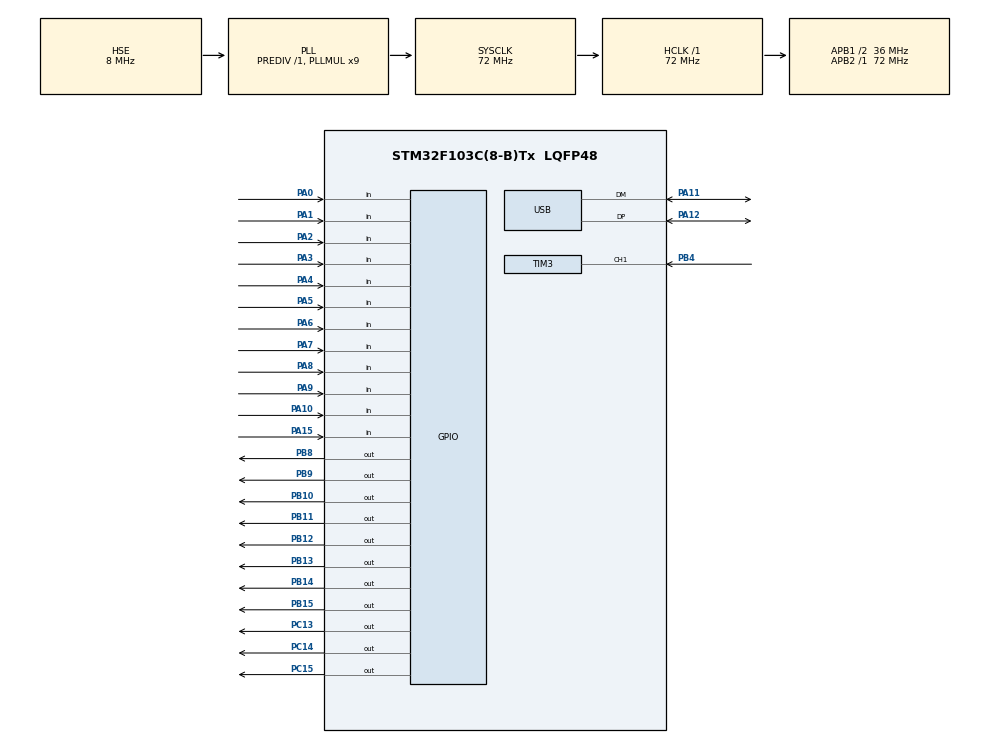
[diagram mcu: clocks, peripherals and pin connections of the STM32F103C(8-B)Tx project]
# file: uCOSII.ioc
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Mcu.Family=STM32F1
USB_DEVICE.CLASS_NAME_FS=CDC
PA11.Mode=Device
PB11.Signal=GPIO_Output
PB13.Signal=GPIO_Output
PB15.Signal=GPIO_Output
RCC.SYSCLKSource=RCC_SYSCLKSOURCE_PLLCLK
ProjectManager.StackSize=0x400
PD1-OSC_OUT.Signal=RCC_OSC_OUT
PA12.Signal=USB_DP
RCC.HCLKFreq_Value=72000000
RCC.APB2TimFreq_Value=72000000
RCC.AHBFreq_Value=72000000
TIM3.Channel-Input_Capture1_from_TI1=TIM_CHANNEL_1
RCC.PLLMUL=RCC_PLL_MUL9
PC13-TAMPER-RTC.PinState=GPIO_PIN_SET
PA14.Mode=Serial_Wire
PA8.Signal=GPIO_Input
SH.S_TIM3_CH1.0=TIM3_CH1,Input_Capture1_from_TI1
TIM4.Period=10
Mcu.Package=LQFP48
PB9.Signal=GPIO_Output
PA6.Signal=GPIO_Input
PA10.Signal=GPIO_Input
PA15.Signal=GPIO_Input
RCC.APB1TimFreq_Value=72000000
PB4.Signal=S_TIM3_CH1
PA3.Signal=GPIO_Input
RCC.PLLSourceVirtual=RCC_PLLSOURCE_HSE
PD1-OSC_OUT.Mode=HSE-External-Oscillator
USB_DEVICE.VirtualModeFS=Cdc_FS
PC13-TAMPER-RTC.Signal=GPIO_Output
RCC.USBPrescaler=RCC_USBCLKSOURCE_PLL_DIV1_5
PD0-OSC_IN.Signal=RCC_OSC_IN
RCC.APB1CLKDivider=RCC_HCLK_DIV2
PC14-OSC32_IN.Signal=GPIO_Output
PA0-WKUP.Signal=GPIO_Input
PA13.Signal=SYS_JTMS-SWDIO
ProjectManager.TargetToolchain=STM32CubeIDE
VP_USB_DEVICE_VS_USB_DEVICE_CDC_FS.Mode=CDC_FS
PA9.Signal=GPIO_Input
RCC.USBFreq_Value=48000000
TIM4.Prescaler=562
PC15-OSC32_OUT.Signal=GPIO_Output
PA1.Signal=GPIO_Input
PD0-OSC_IN.Mode=HSE-External-Oscillator
PB10.Signal=GPIO_Output
PB14.Signal=GPIO_Output
PA5.Signal=GPIO_Input
board=custom
NVIC.TIM3_IRQn=true\:0\:0\:false\:false\:true\:true\:true
RCC.APB2Freq_Value=72000000
NVIC.USB_LP_CAN1_RX0_IRQn=true\:0\:0\:false\:false\:true\:false\:true
PA13.Mode=Serial_Wire
Mcu.Name=STM32F103C(8-B)Tx
PA2.Signal=GPIO_Input
PA4.Signal=GPIO_Input
RCC.SYSCLKFreq_VALUE=72000000
PA12.Mode=Device
PA11.Signal=USB_DM
PA14.Signal=SYS_JTCK-SWCLK
ProjectManager.HeapSize=0x200
VP_TIM4_VS_ClockSourceINT.Mode=Internal
NVIC.PriorityGroup=NVIC_PRIORITYGROUP_4
PB8.Signal=GPIO_Output
NVIC.TIM4_IRQn=true\:0\:0\:false\:false\:true\:true\:true
RCC.APB1Freq_Value=36000000
USB_DEVICE.VirtualMode=Cdc
PB12.Signal=GPIO_Output
PA7.Signal=GPIO_Input

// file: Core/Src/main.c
/* USER CODE BEGIN Header */
/**
  ******************************************************************************
  * @file           : main.c
  * @brief          : Main program body
  ******************************************************************************
  * @attention
  *
  * <h2><center>&copy; Copyright (c) 2019 STMicroelectronics.
  * All rights reserved.</center></h2>
  *
  * This software component is licensed by ST under BSD 3-Clause license,
  * the "License"; You may not use this file except in compliance with the
  * License. You may obtain a copy of the License at:
  *                        opensource.org/licenses/BSD-3-Clause
  *
  ******************************************************************************
  */
/* USER CODE END Header */
#include "main.h"
#include "usb_device.h"

/* USER CODE BEGIN Includes */
#include <app_cfg.h>
#include <cpu_core.h>
#include <os.h>
#include "stdio.h"
#include <math.h>
#include "lib_str.h"
#include "stdarg.h"
#include "usbd_cdc_if.h"
#include "app.h"
#include "DIO.h"
/* USER CODE END Includes */

/* USER CODE BEGIN PD */
#warning "Modify this value to match the number of external interrupts in your MCU"
#define EXT_INT_MAX_NBR 16u
/* USER CODE END PD */

TIM_HandleTypeDef htim3;
TIM_HandleTypeDef htim4;

/* USER CODE BEGIN PV */

OS_STK StartupTaskStk[APP_CFG_STARTUP_TASK_STK_SIZE];

void UsbPrintf (CPU_CHAR  *p_fmt, ...);

u_int16_t output_mode ;
u_int16_t seq_number ;
u_int16_t frequencymeter_en ;
u_int16_t sin_gen_freq ;
u_int32_t measured_freq;

/* USER CODE END PV */

void SystemClock_Config(void);
static void MX_GPIO_Init(void);
static void MX_TIM3_Init(void);
static void MX_TIM4_Init(void);

int main(void)
{
  /* USER CODE BEGIN 1 */
#if (OS_TASK_NAME_EN > 0u)
CPU_INT08U os_err;
#endif
CPU_INT16U int_id;
  /* USER CODE END 1 */

  /* MCU Configuration--------------------------------------------------------*/

  /* Reset of all peripherals, Initializes the Flash interface and the Systick. */
  HAL_Init();

  /* USER CODE BEGIN Init */
  CPU_IntDis();
  for (int_id = CPU_INT_EXT0; int_id <= (EXT_INT_MAX_NBR - 1u); int_id++)
  {
  /* Set all external intr. to KA interrupt priority boundary */
  CPU_IntSrcPrioSet(int_id, CPU_CFG_KA_IPL_BOUNDARY, CPU_INT_KA);
  }
  /* USER CODE END Init */

  /* Configure the system clock */
  SystemClock_Config();

  /* Initialize all configured peripherals */
  MX_GPIO_Init();
  MX_USB_DEVICE_Init();
  MX_TIM3_Init();
  MX_TIM4_Init();
  /* USER CODE BEGIN 2 */

  OSInit();
  OSTaskCreateExt( StartupTask,
                   0,
				   &StartupTaskStk[APP_CFG_STARTUP_TASK_STK_SIZE - 1],
				   APP_CFG_STARTUP_TASK_PRIO,
				   APP_CFG_STARTUP_TASK_PRIO,
				   &StartupTaskStk[0],
				   APP_CFG_STARTUP_TASK_STK_SIZE,
				   0,
				   (OS_TASK_OPT_STK_CHK | OS_TASK_OPT_STK_CLR));
  #if (OS_TASK_NAME_EN > 0u)
   OSTaskNameSet( APP_CFG_STARTUP_TASK_PRIO,
    	  	      (INT8U *)"Startup task",
				  &os_err);
  #endif

  OSStart();

  /* USER CODE END 2 */

  /* Infinite loop */
  while (1)
  {

  }
}

void SystemClock_Config(void)
{
  RCC_OscInitTypeDef RCC_OscInitStruct = {0};
  RCC_ClkInitTypeDef RCC_ClkInitStruct = {0};
  RCC_PeriphCLKInitTypeDef PeriphClkInit = {0};

  /** Initializes the RCC Oscillators according to the specified parameters
  * in the RCC_OscInitTypeDef structure.
  */
  RCC_OscInitStruct.OscillatorType = RCC_OSCILLATORTYPE_HSE;
  RCC_OscInitStruct.HSEState = RCC_HSE_ON;
  RCC_OscInitStruct.HSEPredivValue = RCC_HSE_PREDIV_DIV1;
  RCC_OscInitStruct.HSIState = RCC_HSI_ON;
  RCC_OscInitStruct.PLL.PLLState = RCC_PLL_ON;
  RCC_OscInitStruct.PLL.PLLSource = RCC_PLLSOURCE_HSE;
  RCC_OscInitStruct.PLL.PLLMUL = RCC_PLL_MUL9;
  if (HAL_RCC_OscConfig(&RCC_OscInitStruct) != HAL_OK)
  {
    Error_Handler();
  }
  /** Initializes the CPU, AHB and APB buses clocks
  */
  RCC_ClkInitStruct.ClockType = RCC_CLOCKTYPE_HCLK|RCC_CLOCKTYPE_SYSCLK
                              |RCC_CLOCKTYPE_PCLK1|RCC_CLOCKTYPE_PCLK2;
  RCC_ClkInitStruct.SYSCLKSource = RCC_SYSCLKSOURCE_PLLCLK;
  RCC_ClkInitStruct.AHBCLKDivider = RCC_SYSCLK_DIV1;
  RCC_ClkInitStruct.APB1CLKDivider = RCC_HCLK_DIV2;
  RCC_ClkInitStruct.APB2CLKDivider = RCC_HCLK_DIV1;

  if (HAL_RCC_ClockConfig(&RCC_ClkInitStruct, FLASH_LATENCY_2) != HAL_OK)
  {
    Error_Handler();
  }
  PeriphClkInit.PeriphClockSelection = RCC_PERIPHCLK_USB;
  PeriphClkInit.UsbClockSelection = RCC_USBCLKSOURCE_PLL_DIV1_5;
  if (HAL_RCCEx_PeriphCLKConfig(&PeriphClkInit) != HAL_OK)
  {
    Error_Handler();
  }
}

static void MX_TIM3_Init(void)
{

  TIM_MasterConfigTypeDef sMasterConfig = {0};
  TIM_IC_InitTypeDef sConfigIC = {0};

  htim3.Instance = TIM3;
  htim3.Init.Prescaler = 0;
  htim3.Init.CounterMode = TIM_COUNTERMODE_UP;
  htim3.Init.Period = 65535;
  htim3.Init.ClockDivision = TIM_CLOCKDIVISION_DIV1;
  htim3.Init.AutoReloadPreload = TIM_AUTORELOAD_PRELOAD_DISABLE;
  if (HAL_TIM_IC_Init(&htim3) != HAL_OK)
  {
    Error_Handler();
  }
  sMasterConfig.MasterOutputTrigger = TIM_TRGO_RESET;
  sMasterConfig.MasterSlaveMode = TIM_MASTERSLAVEMODE_DISABLE;
  if (HAL_TIMEx_MasterConfigSynchronization(&htim3, &sMasterConfig) != HAL_OK)
  {
    Error_Handler();
  }
  sConfigIC.ICPolarity = TIM_INPUTCHANNELPOLARITY_RISING;
  sConfigIC.ICSelection = TIM_ICSELECTION_DIRECTTI;
  sConfigIC.ICPrescaler = TIM_ICPSC_DIV1;
  sConfigIC.ICFilter = 0;
  if (HAL_TIM_IC_ConfigChannel(&htim3, &sConfigIC, TIM_CHANNEL_1) != HAL_OK)
  {
    Error_Handler();
  }

}

static void MX_TIM4_Init(void)
{

  TIM_ClockConfigTypeDef sClockSourceConfig = {0};
  TIM_MasterConfigTypeDef sMasterConfig = {0};

  htim4.Instance = TIM4;
  htim4.Init.Prescaler = 562;
  htim4.Init.CounterMode = TIM_COUNTERMODE_UP;
  htim4.Init.Period = 10;
  htim4.Init.ClockDivision = TIM_CLOCKDIVISION_DIV1;
  htim4.Init.AutoReloadPreload = TIM_AUTORELOAD_PRELOAD_DISABLE;
  if (HAL_TIM_Base_Init(&htim4) != HAL_OK)
  {
    Error_Handler();
  }
  sClockSourceConfig.ClockSource = TIM_CLOCKSOURCE_INTERNAL;
  if (HAL_TIM_ConfigClockSource(&htim4, &sClockSourceConfig) != HAL_OK)
  {
    Error_Handler();
  }
  sMasterConfig.MasterOutputTrigger = TIM_TRGO_RESET;
  sMasterConfig.MasterSlaveMode = TIM_MASTERSLAVEMODE_DISABLE;
  if (HAL_TIMEx_MasterConfigSynchronization(&htim4, &sMasterConfig) != HAL_OK)
  {
    Error_Handler();
  }

}

static void MX_GPIO_Init(void)
{
  GPIO_InitTypeDef GPIO_InitStruct = {0};

  /* GPIO Ports Clock Enable */
  __HAL_RCC_GPIOC_CLK_ENABLE();
  __HAL_RCC_GPIOD_CLK_ENABLE();
  __HAL_RCC_GPIOA_CLK_ENABLE();
  __HAL_RCC_GPIOB_CLK_ENABLE();

  /*Configure GPIO pin Output Level */
  HAL_GPIO_WritePin(GPIOC, GPIO_PIN_13, GPIO_PIN_SET);

  /*Configure GPIO pin Output Level */
  HAL_GPIO_WritePin(GPIOC, GPIO_PIN_14|GPIO_PIN_15, GPIO_PIN_RESET);

  /*Configure GPIO pin Output Level */
  HAL_GPIO_WritePin(GPIOB, GPIO_PIN_10|GPIO_PIN_11|GPIO_PIN_12|GPIO_PIN_13
                          |GPIO_PIN_14|GPIO_PIN_15|GPIO_PIN_8|GPIO_PIN_9, GPIO_PIN_RESET);

  /*Configure GPIO pins : PC13 PC14 PC15 */
  GPIO_InitStruct.Pin = GPIO_PIN_13|GPIO_PIN_14|GPIO_PIN_15;
  GPIO_InitStruct.Mode = GPIO_MODE_OUTPUT_PP;
  GPIO_InitStruct.Pull = GPIO_NOPULL;
  GPIO_InitStruct.Speed = GPIO_SPEED_FREQ_LOW;
  HAL_GPIO_Init(GPIOC, &GPIO_InitStruct);

  /*Configure GPIO pins : PA0 PA1 PA2 PA3
                           PA4 PA5 PA6 PA7
                           PA8 PA9 PA10 PA15 */
  GPIO_InitStruct.Pin = GPIO_PIN_0|GPIO_PIN_1|GPIO_PIN_2|GPIO_PIN_3
                          |GPIO_PIN_4|GPIO_PIN_5|GPIO_PIN_6|GPIO_PIN_7
                          |GPIO_PIN_8|GPIO_PIN_9|GPIO_PIN_10|GPIO_PIN_15;
  GPIO_InitStruct.Mode = GPIO_MODE_INPUT;
  GPIO_InitStruct.Pull = GPIO_NOPULL;
  HAL_GPIO_Init(GPIOA, &GPIO_InitStruct);

  /*Configure GPIO pins : PB10 PB11 PB12 PB13
                           PB14 PB15 PB8 PB9 */
  GPIO_InitStruct.Pin = GPIO_PIN_10|GPIO_PIN_11|GPIO_PIN_12|GPIO_PIN_13
                          |GPIO_PIN_14|GPIO_PIN_15|GPIO_PIN_8|GPIO_PIN_9;
  GPIO_InitStruct.Mode = GPIO_MODE_OUTPUT_PP;
  GPIO_InitStruct.Pull = GPIO_NOPULL;
  GPIO_InitStruct.Speed = GPIO_SPEED_FREQ_LOW;
  HAL_GPIO_Init(GPIOB, &GPIO_InitStruct);

}

/* USER CODE BEGIN 4 */
/*
*************************************************************************
* STM32Cube HAL FUNCTIONS
*************************************************************************
*/
HAL_StatusTypeDef HAL_InitTick(uint32_t TickPriority)
{
/* define as empty to prevent the system tick being initialized before
    the OS starts */
 return (HAL_OK);
}

uint32_t HAL_GetTick(void)
{
 CPU_INT32U os_tick_ctr;

 #if (OS_VERSION >= 30000u)
  OS_ERR os_err;
  os_tick_ctr = OSTimeGet(&os_err);
 #else
  os_tick_ctr = OSTimeGet();
 #endif

 return os_tick_ctr;
}

/*
**************************************************************************************************************************
*                                               UsbPrintfMsg()
*
* Description :
* Argument(s) : none
* Return(s)   : none.
* Caller(s)   :
* Note(s)     : none.
**************************************************************************************************************************
*/
void UsbPrintf (CPU_CHAR  *p_fmt, ...)
{
    CPU_CHAR    str[80u + 1u];
    CPU_SIZE_T  len;
    va_list     vArgs;

    va_start(vArgs, p_fmt);

    vsprintf((char       *)str,
             (char const *)p_fmt,
                           vArgs);

    va_end(vArgs);

    len = Str_Len(str);

    CDC_Transmit_FS((uint8_t *)str, len);
}

/* USER CODE END 4 */

void Error_Handler(void)
{
}

/************************ (C) COPYRIGHT STMicroelectronics *****END OF FILE****/
